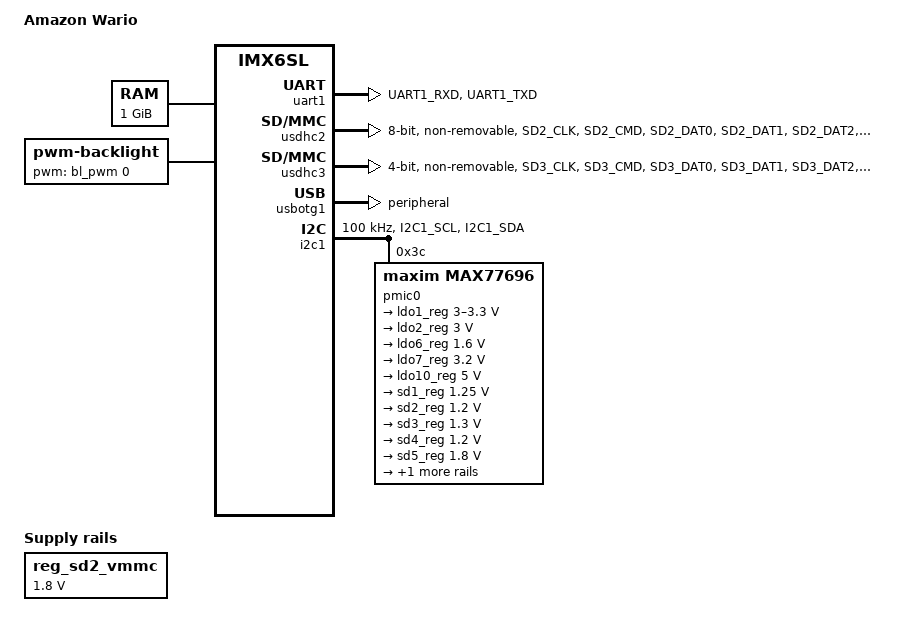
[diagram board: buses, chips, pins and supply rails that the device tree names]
/*
 * Copyright (C) 2013 Freescale Semiconductor, Inc.
 *
 * This program is free software; you can redistribute it and/or modify
 * it under the terms of the GNU General Public License version 2 as
 * published by the Free Software Foundation.
 */

/dts-v1/;

#include <dt-bindings/gpio/gpio.h>
#include <dt-bindings/input/input.h>
#include "imx6sl.dtsi"

/ {
	model = "Amazon Wario";
	compatible = "amazon,wario", "fsl,imx6sl";

	aliases {
        mmc1 = &usdhc2;
		usbotg0 = &usbotg1;
	};

	memory {
		reg = <0x80000000 0x40000000>;
	};

	regulators {
		compatible = "simple-bus";
		#address-cells = <1>;
		#size-cells = <0>;

		reg_sd2_vmmc: sd2_vmmc { //TODO This is probably in the max77696
			compatible = "regulator-fixed";
			regulator-name = "eMMC-VCCQ";
			regulator-min-microvolt = <1800000>;
			regulator-max-microvolt = <1800000>;
			regulator-boot-on;
		};
	};

	backlight {
		compatible = "pwm-backlight";
		pwms = <&bl_pwm 0 3921569>;
		brightness-levels = <0 4 8 16 32 64 128 255>;
		default-brightness-level = <6>;
	};
};

&iomuxc {
	pinctrl-names = "default";

	wario {
		pinctrl_uart1: uart1grp {
			fsl,pins = <
				MX6SL_PAD_UART1_RXD__UART1_RX_DATA	0x1b0b1
				MX6SL_PAD_UART1_TXD__UART1_TX_DATA	0x1b0b1
			>;
		};

		pinctrl_usdhc2: usdhc2grp {
			fsl,pins = <
				/*
				LVE_ENABLED,HYS_ENABLED,PUS_22KOHM_PU,PUE_PULL,
				PKE_ENABLED,ODE_DISABLED,SPD_100MHZ,DSE_40OHM,SRE_FAST
				*/
				MX6SL_PAD_SD2_CLK__SD2_CLK			0x41F071
				MX6SL_PAD_SD2_CMD__SD2_CMD			0x41F071
				MX6SL_PAD_SD2_DAT0__SD2_DATA0		0x41F071
				MX6SL_PAD_SD2_DAT1__SD2_DATA1		0x41F071
				MX6SL_PAD_SD2_DAT2__SD2_DATA2		0x41F071
				MX6SL_PAD_SD2_DAT3__SD2_DATA3		0x41F071
				MX6SL_PAD_SD2_DAT4__SD2_DATA4		0x41F071
				MX6SL_PAD_SD2_DAT5__SD2_DATA5		0x41F071
				MX6SL_PAD_SD2_DAT6__SD2_DATA6		0x41F071
				MX6SL_PAD_SD2_DAT7__SD2_DATA7		0x41F071
				/*
				LVE_ENABLED,HYS_ENABLED,PUS_100KOHM_PU,PUE_PULL,
				PKE_ENABLED,ODE_DISABLED,SPD_100MHZ,DSE_40OHM,SRE_FAST
				*/
				MX6SL_PAD_SD2_RST__SD2_RESET		0x413071
			>;
		};

		pinctrl_usdhc3: usdhc3grp {
			fsl,pins = <
				/*
				LVE_ENABLED,HYS_ENABLED,PUS_22KOHM_PU,PUE_PULL,
				PKE_ENABLED,ODE_DISABLED,SPD_100MHZ,DSE_40OHM,SRE_FAST
				*/
				MX6SL_PAD_SD3_CLK__SD3_CLK			0x41F071
				MX6SL_PAD_SD3_CMD__SD3_CMD			0x41F071
				MX6SL_PAD_SD3_DAT0__SD3_DATA0		0x41F071
				MX6SL_PAD_SD3_DAT1__SD3_DATA1		0x41F071
				MX6SL_PAD_SD3_DAT2__SD3_DATA2		0x41F071
				MX6SL_PAD_SD3_DAT3__SD3_DATA3		0x41F071

				/*
				WIFI_PWD
				LVE_ENABLED, HYS_ENABLED, PUS_100KOHM_PU, PUE_PULL, 
				PKE_ENABLED, ODE_DISABLED, SPD_100MHZ, DSE_40OHM, SRE_SLOW
				*/
				MX6SL_PAD_KEY_ROW2__GPIO3_IO29		0x41B0B0

				/*
				Unknown function
				LVE_ENABLED, HYS_ENABLED, PUS_100KOHM_PD, PUE_KEEP, 
				PKE_ENABLED, ODE_DISABLED, SPD_100MHZ, DSE_40OHM, SRE_SLOW
				*/
				MX6SL_PAD_LCD_VSYNC__GPIO2_IO18		0x4110B0
			>;
		};
		
		pinctrl_i2c1: i2c1grp {
			fsl,pins = <
				MX6SL_PAD_I2C1_SCL__I2C1_SCL	0x4001b8b1
				MX6SL_PAD_I2C1_SDA__I2C1_SDA	0x4001b8b1
			>;
		};
	};
};

&uart1 {
	pinctrl-names = "default";
	pinctrl-0 = <&pinctrl_uart1>;
	status = "okay";
};

&usdhc2 {
	pinctrl-names = "default";
	pinctrl-0 = <&pinctrl_usdhc2>;
	bus-width = <8>;
	vqmmc-supply = <&reg_sd2_vmmc>;
	non-removable;
	status = "okay";
};

&usdhc3 {
	pinctrl-names = "default";
	pinctrl-0 = <&pinctrl_usdhc3>;
	bus-width = <4>;
	vqmmc-supply = <&reg_sd2_vmmc>;
	non-removable;
	status = "okay";
};

&usbotg1 {
	pinctrl-names = "default";
	disable-over-current;
	dr_mode = "peripheral";
	status = "okay";
};

&i2c1 {
	clock-frequency = <100000>;
	pinctrl-names = "default";
	pinctrl-0 = <&pinctrl_i2c1>;
	status = "okay";

	pmic0: pmic0@3c {
		compatible = "maxim,max77696";
		//interrupt-parent = <&gpx3>;
		//interrupts = <7 0>;
		reg = <0x3c 0 0>;
		#clock-cells = <1>;

		pwm {
			bl_pwm: BLPWM {
				#pwm-cells = <2>;
				status = "okay";
			};
		};

		voltage-regulators {
			ldo1_reg: LDO1 {
				regulator-name = "VDD_ZFORCE2";
				regulator-min-microvolt = <3000000>;
				regulator-max-microvolt = <3300000>;
			};

			ldo2_reg: LDO2 {
				regulator-name = "VDD_USBPHY";
				regulator-min-microvolt = <3000000>;
				regulator-max-microvolt = <3000000>;
			};

			//TODO: LDO3 Unknown

			//LDO4-5 Disabled - input grounded

			ldo6_reg: LDO6 {
				regulator-name = "VDD_SNVS";
				regulator-min-microvolt = <1600000>;
				regulator-max-microvolt = <1600000>;
			};

			ldo7_reg: LDO7 {
				regulator-name = "VDD_KEEPER";
				regulator-min-microvolt = <3200000>;
				regulator-max-microvolt = <3200000>;
			};

			//LDO8-9 Disabled - input grounded

			ldo10_reg: LDO10 {
				regulator-name = "VBUS";
				regulator-min-microvolt = <5000000>;
				regulator-max-microvolt = <5000000>;
			};

			sd1_reg: SD1 {
				regulator-name = "VDD_CORE";
				regulator-min-microvolt = <1250000>;
				regulator-max-microvolt = <1250000>;
			};

			sd2_reg: SD2 {
				regulator-name = "VDD_SOC";
				regulator-min-microvolt = <1200000>;
				regulator-max-microvolt = <1200000>;
			};

			sd3_reg: SD3 {
				regulator-name = "V_SD3";
				regulator-min-microvolt = <1300000>;
				regulator-max-microvolt = <1300000>;
			};

			sd4_reg: SD4 {
				regulator-name = "V_SD4";
				regulator-min-microvolt = <1200000>;
				regulator-max-microvolt = <1200000>;
			};

			sd5_reg: SD5 {
				regulator-name = "V_SD5";
				regulator-min-microvolt = <1800000>;
				regulator-max-microvolt = <1800000>;
			};

			sd6_reg: SD6 {
				regulator-name = "V_SD6";
				regulator-min-microvolt = <3100000>;
				regulator-max-microvolt = <3250000>;
			};
		};
	};
};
